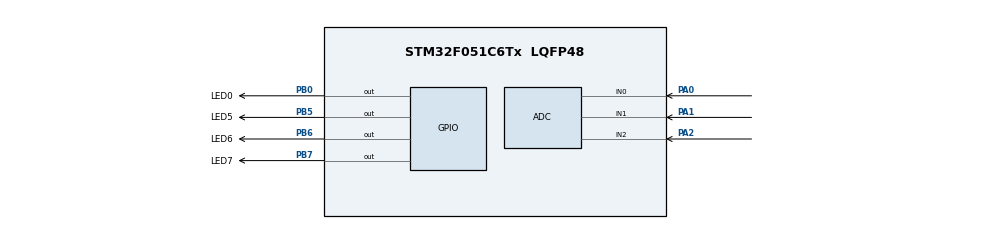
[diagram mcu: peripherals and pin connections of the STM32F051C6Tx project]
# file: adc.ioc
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Mcu.Family=STM32F0
Mcu.Name=STM32F051C6Tx
Mcu.Package=LQFP48
PA0.Mode=IN0
PA0.Signal=ADC_IN0
PA1.Mode=IN1
PA1.Signal=ADC_IN1
PA13.Mode=Serial_Wire
PA13.Signal=SYS_SWDIO
PA14.Mode=Serial_Wire
PA14.Signal=SYS_SWCLK
PA2.Mode=IN2
PA2.Signal=ADC_IN2
PB0.GPIO_Label=LED0
PB0.Signal=GPIO_Output
PB5.GPIO_Label=LED5
PB5.PinState=GPIO_PIN_RESET
PB5.Signal=GPIO_Output
PB6.GPIO_Label=LED6
PB6.Signal=GPIO_Output
PB7.GPIO_Label=LED7
PB7.Signal=GPIO_Output
ProjectManager.HeapSize=0x200
ProjectManager.StackSize=0x400
ProjectManager.TargetToolchain=STM32CubeIDE
board=custom

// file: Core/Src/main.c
/* USER CODE BEGIN Header */
/**
  ******************************************************************************
  * @file           : main.c
  * @brief          : Main program body
  ******************************************************************************
  * @attention
  *
  * Copyright (c) 2024 STMicroelectronics.
  * All rights reserved.
  *
  * This software is licensed under terms that can be found in the LICENSE file
  * in the root directory of this software component.
  * If no LICENSE file comes with this software, it is provided AS-IS.
  *
  ******************************************************************************
  */
/* USER CODE END Header */
#include "main.h"
#include "adc.h"
#include "gpio.h"
#include <lcd_stm32f0.c>

/* USER CODE BEGIN PV */
//JUSTIN - START 1/3
uint16_t adc_value;
uint16_t adc_value1;
uint16_t adc_value2;
uint8_t channel = 0;
//JUSTIN - END
/* USER CODE END PV */

void SystemClock_Config(void);

int main(void)
{

  /* MCU Configuration--------------------------------------------------------*/

  /* Reset of all peripherals, Initializes the Flash interface and the Systick. */
  HAL_Init();

  /* Configure the system clock */
  SystemClock_Config();

  /* Initialize all configured peripherals */
  MX_GPIO_Init();
  MX_ADC_Init();
  init_LCD();

  /* Infinite loop */
  while (1)
  {

    /* USER CODE BEGIN 3 */
    //JUSTIN - START 2/3
   ADC1-> CHSELR= ADC_CHSELR_CHSEL0;
    HAL_Delay(10);
    HAL_ADC_Start(&hadc);
    HAL_GPIO_WritePin(LED7_GPIO_Port,LED7_Pin,RESET);
    while(HAL_ADC_PollForConversion(&hadc,5)!= HAL_OK);
    adc_value = HAL_ADC_GetValue(&hadc);
    if(adc_value<2200) {
      HAL_GPIO_WritePin(LED7_GPIO_Port,LED7_Pin,SET);
    } else {
      HAL_GPIO_WritePin(LED7_GPIO_Port,LED7_Pin,RESET);
    }
    HAL_ADC_Stop(&hadc);

    ADC1->CHSELR=ADC_CHSELR_CHSEL1;
    HAL_Delay(10);
    HAL_ADC_Start(&hadc);
    HAL_GPIO_WritePin(LED6_GPIO_Port,LED6_Pin,RESET);
    while(HAL_ADC_PollForConversion(&hadc,5)!= HAL_OK);
    adc_value1 = HAL_ADC_GetValue(&hadc);
    if(adc_value1<2000) {
      HAL_GPIO_WritePin(LED6_GPIO_Port,LED6_Pin,SET);
    } else {
      HAL_GPIO_WritePin(LED6_GPIO_Port,LED6_Pin,RESET);
    }
    HAL_ADC_Stop(&hadc);

   ADC1->CHSELR=ADC_CHSELR_CHSEL2;
    HAL_Delay(10);
    HAL_ADC_Start(&hadc);
    HAL_GPIO_WritePin(LED5_GPIO_Port,LED5_Pin,RESET);
    while(HAL_ADC_PollForConversion(&hadc,5)!= HAL_OK);
    adc_value2 = HAL_ADC_GetValue(&hadc);
    if(adc_value2<2200) {
      HAL_GPIO_WritePin(LED5_GPIO_Port,LED5_Pin,SET);
    } else {
      HAL_GPIO_WritePin(LED5_GPIO_Port,LED5_Pin,RESET);
    }
    HAL_ADC_Stop(&hadc);
    lcd_command(CLEAR);
   char str[50]; // Assuming a sufficient buffer size for the resulting string
char str2[12];
char str_adc_value[10]; // Assuming a sufficient buffer size for the ADC value
char str_adc_value1[10]; // Assuming a sufficient buffer size for the ADC value
char str_adc_value2[10]; // Assuming a sufficient buffer size for the ADC value

// Convert numerical values to strings
sprintf(str_adc_value, "%d", adc_value);
sprintf(str_adc_value1, "%d", adc_value1);
sprintf(str_adc_value2, "%d", adc_value2);

// Concatenate strings and pass them to lcd_putstring
lcd_putstring("LO:");
lcd_putstring(str_adc_value);
lcd_putstring(" MO:");
lcd_putstring(str_adc_value1);
lcd_command(LINE_TWO);
lcd_putstring("RO:");
lcd_putstring(str_adc_value2);

    //JUSTIN - END
  }
  /* USER CODE END 3 */
}

void SystemClock_Config(void)
{
  RCC_OscInitTypeDef RCC_OscInitStruct = {0};
  RCC_ClkInitTypeDef RCC_ClkInitStruct = {0};

  /** Initializes the RCC Oscillators according to the specified parameters
  * in the RCC_OscInitTypeDef structure.
  */
  RCC_OscInitStruct.OscillatorType = RCC_OSCILLATORTYPE_HSI|RCC_OSCILLATORTYPE_HSI14;
  RCC_OscInitStruct.HSIState = RCC_HSI_ON;
  RCC_OscInitStruct.HSI14State = RCC_HSI14_ON;
  RCC_OscInitStruct.HSICalibrationValue = RCC_HSICALIBRATION_DEFAULT;
  RCC_OscInitStruct.HSI14CalibrationValue = 16;
  RCC_OscInitStruct.PLL.PLLState = RCC_PLL_NONE;
  if (HAL_RCC_OscConfig(&RCC_OscInitStruct) != HAL_OK)
  {
    Error_Handler();
  }

  /** Initializes the CPU, AHB and APB buses clocks
  */
  RCC_ClkInitStruct.ClockType = RCC_CLOCKTYPE_HCLK|RCC_CLOCKTYPE_SYSCLK
                              |RCC_CLOCKTYPE_PCLK1;
  RCC_ClkInitStruct.SYSCLKSource = RCC_SYSCLKSOURCE_HSI;
  RCC_ClkInitStruct.AHBCLKDivider = RCC_SYSCLK_DIV1;
  RCC_ClkInitStruct.APB1CLKDivider = RCC_HCLK_DIV1;

  if (HAL_RCC_ClockConfig(&RCC_ClkInitStruct, FLASH_LATENCY_0) != HAL_OK)
  {
    Error_Handler();
  }
}

/* USER CODE BEGIN 4 */
//JUSTIN - START 3/3
/* I took this code from the adc.c file - In the init section.
* Regrettably setting up the ADC for reading multiple channels is not great without using DMA (scary)
* So you would need to just look at that file and work out how to modify your set channel accordingly.
*/
void adc_set_channel(uint8_t num) {
    ADC_ChannelConfTypeDef sConfig = {0};

    if (num>0) {
      sConfig.Channel = ADC_CHANNEL_5;
    } else {
      sConfig.Channel = ADC_CHANNEL_6;
    }
    sConfig.Rank = ADC_RANK_CHANNEL_NUMBER;
    sConfig.SamplingTime = ADC_SAMPLETIME_1CYCLE_5;
    if (HAL_ADC_ConfigChannel(&hadc, &sConfig) != HAL_OK)
    {
      Error_Handler();
    }
}
//JUSTIN - END
/* USER CODE END 4 */

void Error_Handler(void)
{
  __disable_irq();
  while (1)
  {
  }
}
